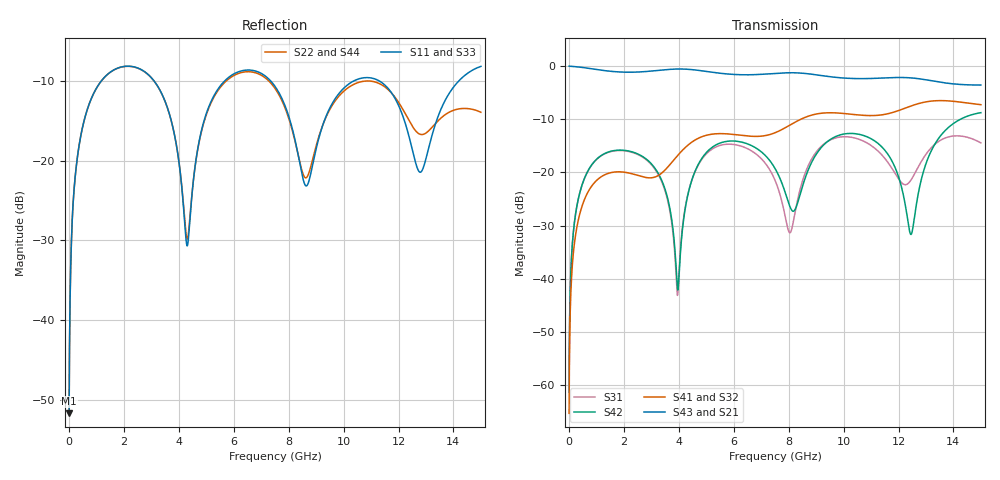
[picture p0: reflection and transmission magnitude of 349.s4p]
! Created with skrf 1.8.0 (http://scikit-rf.org).
# GHz S RI R 50.0
!freq ReS11 ImS11 ReS12 ImS12 ReS13 ImS13
! ReS14 ImS14
! ReS21 ImS21 ReS22 ImS22 ReS23 ImS23
! ReS24 ImS24
! ReS31 ImS31 ReS32 ImS32 ReS33 ImS33
! ReS34 ImS34
! ReS41 ImS41 ReS42 ImS42 ReS43 ImS43
! ReS44 ImS44
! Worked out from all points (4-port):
!   2499 points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, 5 MHz to 15 GHz, reference 50 ohm
!   strongest paths, dB at 5 MHz, 3.476 GHz, 7.19 GHz, 11.1 GHz, 15 GHz:
!     S43: 0.0, -0.7, -1.5, -2.3, -3.6
!     S21: 0.0, -0.7, -1.5, -2.3, -3.6
!     S41: -65.3, -19.7, -13.0, -9.3, -7.3
!     S32: -65.3, -19.7, -13.0, -9.3, -7.3
!     S42: -61.3, -22.8, -17.0, -14.0, -8.8
!     S31: -61.3, -23.1, -18.6, -15.3, -14.5
!   lowest |S11| = -51.7 dB at 5 MHz (marker M1), VSWR 1.01, Z = 50.2 + j0.158 ohm
!   |S11| at or under -10 dB: 3.097 GHz to 5.672 GHz (2.576 GHz wide, 58.8 % of centre); 7.341 GHz to 10.38 GHz (3.036 GHz wide, 34.3 % of centre); 11.29 GHz to 14.2 GHz (2.906 GHz wide, 22.8 % of centre) (the widest 3 of 4)
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0.005  0.00208 0.00157  0.9979 -0.00404  0.000107 0.000855  -0.000104 -0.000532
       0.9979 -0.00404  0.00208 0.00157  -0.000104 -0.000532  0.000107 0.000855
       0.000107 0.000855  -0.000104 -0.000532  0.00208 0.00157  0.9979 -0.00404
       -0.000104 -0.000532  0.000107 0.000855  0.9979 -0.00404  0.00208 0.00157
0.2626094  0.0276 0.0867  0.9625 -0.2111  0.0128 0.0423  -0.0107 -0.0259
           0.9625 -0.2111  0.0276 0.0867  -0.0107 -0.0259  0.013 0.0423
           0.0128 0.0423  -0.0107 -0.0259  0.0276 0.0867  0.9625 -0.2111
           -0.0107 -0.0259  0.013 0.0423  0.9625 -0.2111  0.0276 0.0867
1.269279  0.2818 0.1711  0.5235 -0.7422  0.1348 0.0619  -0.094 -0.00181
          0.5235 -0.7422  0.281 0.1717  -0.094 -0.0018  0.1371 0.0585
          0.1348 0.0619  -0.094 -0.0018  0.2818 0.1711  0.5235 -0.7422
          -0.094 -0.00181  0.1371 0.0585  0.5235 -0.7422  0.2809 0.1717
4.245519  0.0291 -0.0185  -0.9288 -0.1106  -0.0015 0.0488  -0.0165 0.1716
          -0.9288 -0.1106  0.0322 -0.0186  -0.0164 0.1716  0.00152 0.0477
          -0.0015 0.0488  -0.0164 0.1716  0.0294 -0.0186  -0.9288 -0.1108
          -0.0165 0.1716  0.00152 0.0477  -0.9288 -0.1108  0.0318 -0.0187
8.622343  0.0687 -0.0107  0.8385 0.1448  -0.00223 0.1017  0.0476 -0.3276
          0.8385 0.1448  0.0778 -0.00561  0.0482 -0.3282  -0.00801 0.0913
          -0.00223 0.1017  0.0482 -0.3282  0.0626 -0.00545  0.8388 0.1438
          0.0476 -0.3276  -0.00801 0.0913  0.8388 0.1438  0.0816 0.00116
11.41726  0.2882 -0.1032  -0.1268 -0.762  0.0807 -0.1189  -0.332 0.1055
          -0.1268 -0.762  0.2881 -0.0702  -0.3322 0.1071  0.0949 -0.1423
          0.0807 -0.1189  -0.3322 0.1071  0.2907 -0.0985  -0.1243 -0.7619
          -0.332 0.1055  0.0949 -0.1423  -0.1243 -0.7619  0.2901 -0.0733
15  0.3894 0.00923  -0.2968 0.5938  0.1736 0.0759  0.4196 0.1074
    -0.2968 0.5938  0.1986 -0.0302  0.4204 0.1059  0.2942 -0.2152
    0.1736 0.0759  0.4204 0.1059  0.3904 0.0147  -0.3004 0.5912
    0.4196 0.1074  0.2942 -0.2152  -0.3004 0.5912  0.2031 -0.0305
